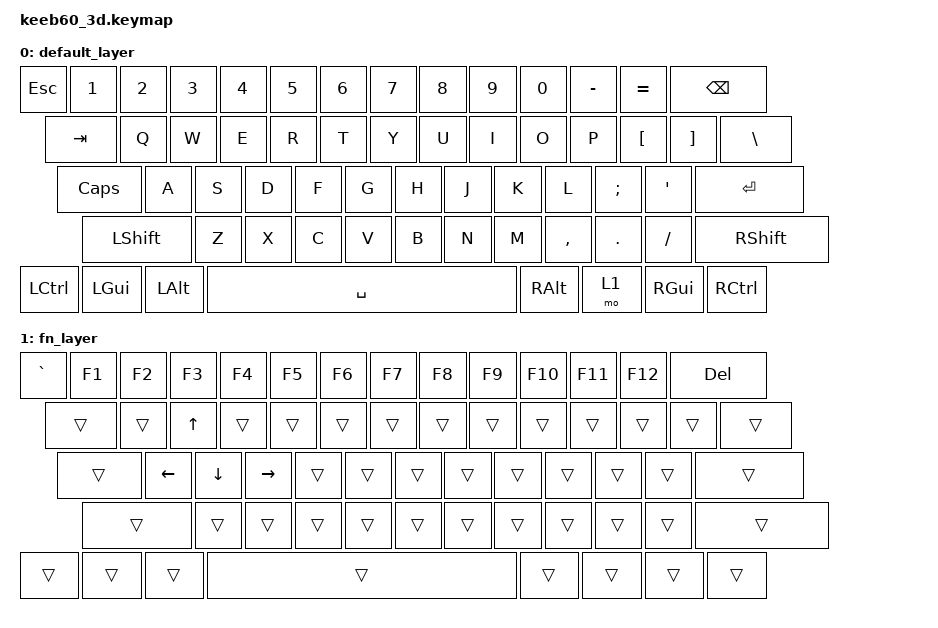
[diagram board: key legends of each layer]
#include <behaviors.dtsi>
#include <dt-bindings/zmk/keys.h>

/ {
    keymap {
        compatible = "zmk,keymap";

        default_layer {
            bindings = <
                &kp ESC   &kp N1    &kp N2    &kp N3    &kp N4    &kp N5    &kp N6    &kp N7    &kp N8    &kp N9    &kp N0    &kp MINUS &kp EQUAL &kp BSPC
                &kp TAB   &kp Q     &kp W     &kp E     &kp R     &kp T     &kp Y     &kp U     &kp I     &kp O     &kp P     &kp LBKT  &kp RBKT  &kp BSLH
                &kp CAPS  &kp A     &kp S     &kp D     &kp F     &kp G     &kp H     &kp J     &kp K     &kp L     &kp SCLN  &kp QUOT  &kp RET
                &kp LSHFT &kp Z     &kp X     &kp C     &kp V     &kp B     &kp N     &kp M     &kp COMMA &kp DOT   &kp FSLH  &kp RSHFT
                &kp LCTL  &kp LGUI  &kp LALT  &kp SPACE  &kp RALT  &mo 1    &kp RGUI  &kp RCTL
            >;
        };

        fn_layer {
            bindings = <
                &kp GRAVE &kp F1    &kp F2    &kp F3    &kp F4    &kp F5    &kp F6    &kp F7    &kp F8    &kp F9    &kp F10   &kp F11   &kp F12   &kp DEL
                &trans    &trans    &kp UP    &trans    &trans    &trans    &trans    &trans    &trans    &trans    &trans    &trans    &trans    &trans
                &trans    &kp LEFT  &kp DOWN  &kp RIGHT &trans    &trans    &trans    &trans    &trans    &trans    &trans    &trans    &trans
                &trans    &trans    &trans    &trans    &trans    &trans    &trans    &trans    &trans    &trans    &trans    &trans
                &trans    &trans    &trans    &trans    &trans    &trans    &trans    &trans
            >;
        };
    };
};
